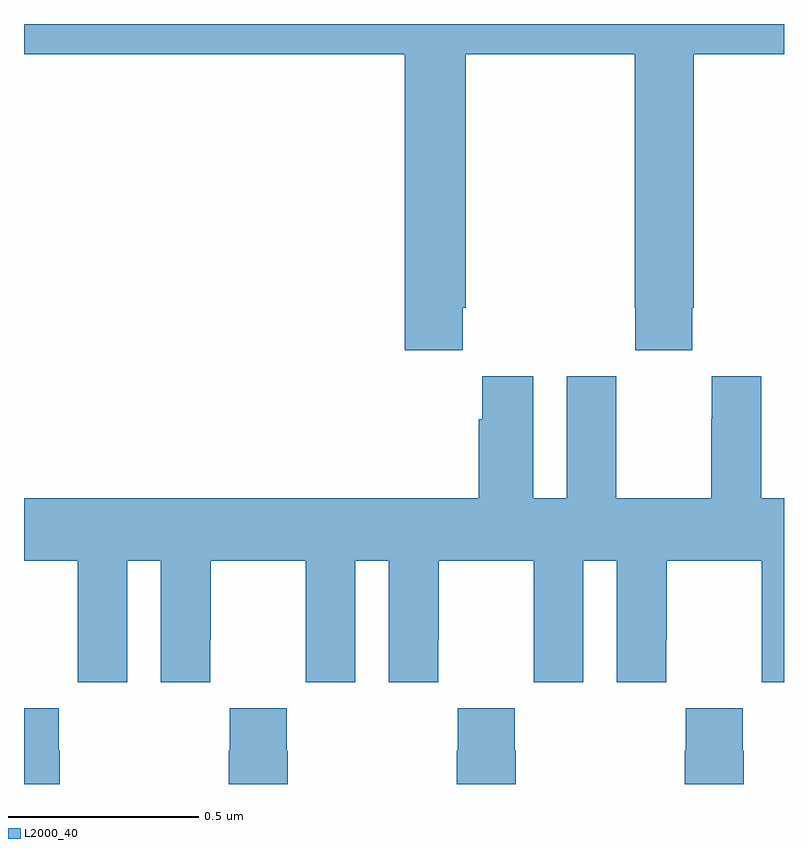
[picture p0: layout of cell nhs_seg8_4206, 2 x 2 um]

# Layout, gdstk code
import gdstk
lib = gdstk.Library(unit=1e-6, precision=1e-09)
def P(c, l, *ps):  # polygons
    for p in ps: c.add(gdstk.Polygon(p, *l))
L2000_40 = (2000, 40)

nhs_seg8_4206 = lib.new_cell('nhs_seg8_4206')
P(nhs_seg8_4206, L2000_40, [(168.155,1129.153),(168.162,1129.153),(168.162,1129.82),(168.607,1129.82),(168.607,1129.153),(168.609,1129.153),(168.609,1129.041),(168.759,1129.041),(168.759,1129.153),(168.762,1129.153),(168.762,1129.82),(169,1129.82),(169,1129.9),(167,1129.9),(167,1129.82),(168.002,1129.82),(168.002,1129.041),(168.155,1129.041)],
  [(168.941,1128.28),(168.942,1128.28),(168.942,1128.168),(169,1128.168),(169,1128.652),(168.94,1128.652),(168.94,1128.973),(168.81,1128.973),(168.81,1128.86),(168.809,1128.86),(168.809,1128.652),(168.559,1128.652),(168.559,1128.86),(168.558,1128.86),(168.558,1128.973),(168.428,1128.973),(168.428,1128.652),(168.34,1128.652),(168.34,1128.973),(168.206,1128.973),(168.206,1128.86),(168.197,1128.86),(168.197,1128.652),(167,1128.652),(167,1128.488),(167.141,1128.488),(167.141,1128.28),(167.142,1128.28),(167.142,1128.168),(167.272,1128.168),(167.272,1128.488),(167.36,1128.488),(167.36,1128.168),(167.49,1128.168),(167.49,1128.28),(167.491,1128.28),(167.491,1128.488),(167.741,1128.488),(167.741,1128.28),(167.742,1128.28),(167.742,1128.168),(167.872,1128.168),(167.872,1128.488),(167.96,1128.488),(167.96,1128.168),(168.09,1128.168),(168.09,1128.28),(168.091,1128.28),(168.091,1128.488),(168.341,1128.488),(168.341,1128.28),(168.342,1128.28),(168.342,1128.168),(168.472,1128.168),(168.472,1128.488),(168.56,1128.488),(168.56,1128.168),(168.69,1128.168),(168.69,1128.28),(168.691,1128.28),(168.691,1128.488),(168.941,1128.488)],
  [(167.694,1127.987),(167.691,1127.987),(167.691,1128.1),(167.541,1128.1),(167.541,1127.987),(167.539,1127.987),(167.539,1127.9),(167.694,1127.9)],
  [(168.294,1127.987),(168.291,1127.987),(168.291,1128.1),(168.141,1128.1),(168.141,1127.987),(168.139,1127.987),(168.139,1127.9),(168.294,1127.9)],
  [(168.894,1127.987),(168.891,1127.987),(168.891,1128.1),(168.741,1128.1),(168.741,1127.987),(168.739,1127.987),(168.739,1127.9),(168.894,1127.9)],
  [(167.094,1127.987),(167.091,1127.987),(167.091,1128.1),(167,1128.1),(167,1127.9),(167.094,1127.9)])

lib.write_gds('nhs_seg8_4206.gds')
